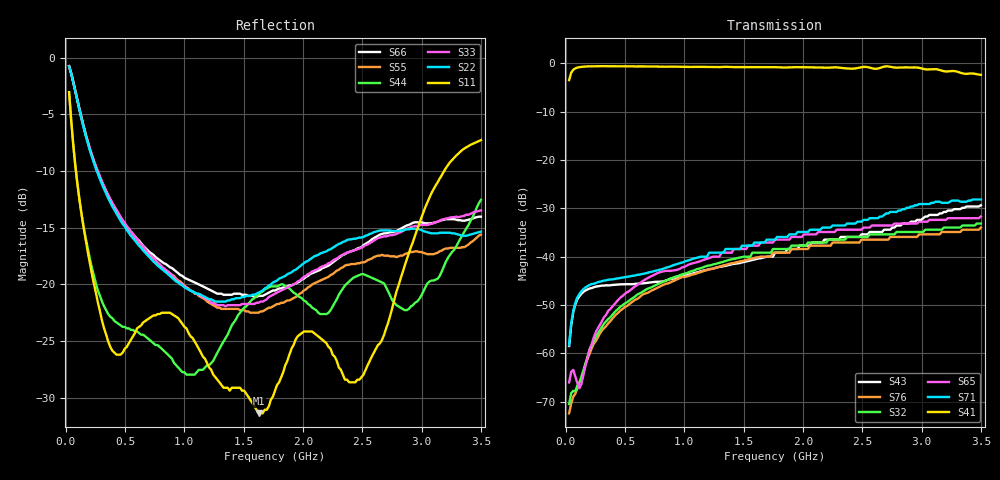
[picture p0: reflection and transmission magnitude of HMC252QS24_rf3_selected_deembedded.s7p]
!Hittite Microwave Corporation
!12 Elizabeth Drive
!Chelmsford, MA 01824
!Tel: 978-250-3343
!Fax: 978-250-3373
!Device: HMC252QS24, DC-3 GHz GaAS MMIC SP6T Non-Reflective Switch in 24-lead QSOP package
!Misc: Port 1 = RFCom, Port 2 = RF1, Port 3 = RF2, Port 4 = RF3, Port 5 = RF4, Port 6 = RF5, Port 7 = RF6, RF3 selected, Vdd=+5V
# MHZ S MA R 50
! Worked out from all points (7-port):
!   201 points, 30 MHz to 3.5 GHz, reference 50 ohm
!   strongest paths, dB at 30 MHz, 897.5 MHz, 1.765 GHz, 2.632 GHz, 3.5 GHz:
!     S41: -3.5, -0.7, -0.8, -1.1, -2.4
!     S71: -58.3, -41.9, -36.5, -32.0, -28.2
!     S65: -66.0, -42.9, -36.5, -33.6, -31.7
!     S32: -70.5, -44.4, -38.4, -35.4, -33.2
!     S76: -72.4, -45.2, -39.2, -36.5, -34.0
!     S43: -58.5, -44.6, -39.2, -34.9, -29.4
!   lowest |S11| = -31.4 dB at 1.626 GHz (marker M1), VSWR 1.06, Z = 48.7 - j2.32 ohm
!   |S11| at or under -10 dB: 87.52 MHz to 3.19 GHz (3.102 GHz wide, 189 % of centre)
